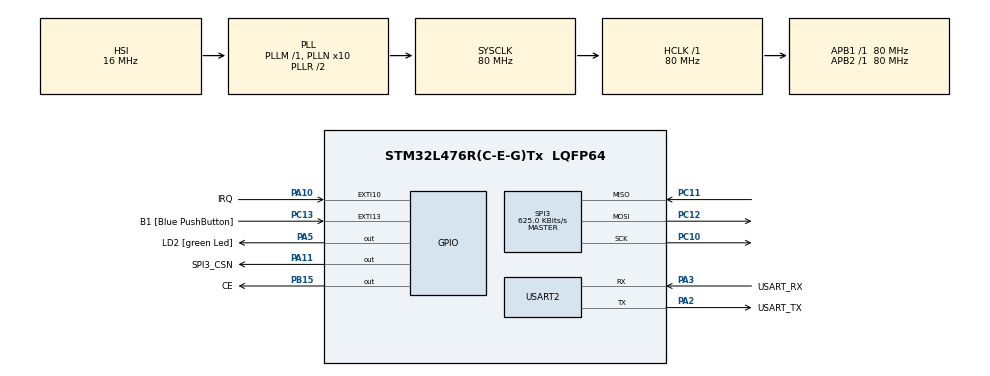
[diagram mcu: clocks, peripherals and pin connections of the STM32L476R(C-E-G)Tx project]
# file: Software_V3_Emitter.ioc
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Mcu.Family=STM32L4
Mcu.Name=STM32L476R(C-E-G)Tx
Mcu.Package=LQFP64
NVIC.EXTI15_10_IRQn=true\:0\:0\:false\:false\:true\:true\:true\:true
NVIC.PriorityGroup=NVIC_PRIORITYGROUP_4
PA10.GPIO_Label=IRQ
PA10.GPIO_ModeDefaultEXTI=GPIO_MODE_IT_FALLING
PA10.Signal=GPXTI10
PA11.GPIO_Label=SPI3_CSN
PA11.GPIO_Speed=GPIO_SPEED_FREQ_HIGH
PA11.PinState=GPIO_PIN_SET
PA11.Signal=GPIO_Output
PA13\ (JTMS-SWDIO).GPIO_Label=TMS
PA13\ (JTMS-SWDIO).Mode=Serial_Wire
PA13\ (JTMS-SWDIO).Signal=SYS_JTMS-SWDIO
PA14\ (JTCK-SWCLK).GPIO_Label=TCK
PA14\ (JTCK-SWCLK).Mode=Serial_Wire
PA14\ (JTCK-SWCLK).Signal=SYS_JTCK-SWCLK
PA2.GPIO_Label=USART_TX
PA2.GPIO_Mode=GPIO_MODE_AF_PP
PA2.GPIO_PuPd=GPIO_NOPULL
PA2.GPIO_Speed=GPIO_SPEED_FREQ_VERY_HIGH
PA2.Mode=Asynchronous
PA2.Signal=USART2_TX
PA3.GPIO_Label=USART_RX
PA3.GPIO_Mode=GPIO_MODE_AF_PP
PA3.GPIO_PuPd=GPIO_NOPULL
PA3.GPIO_Speed=GPIO_SPEED_FREQ_VERY_HIGH
PA3.Mode=Asynchronous
PA3.Signal=USART2_RX
PA5.GPIO_Label=LD2 [green Led]
PA5.GPIO_ModeDefaultOutputPP=GPIO_MODE_OUTPUT_PP
PA5.GPIO_PuPd=GPIO_NOPULL
PA5.GPIO_Speed=GPIO_SPEED_FREQ_LOW
PA5.Signal=GPIO_Output
PB15.GPIO_Label=CE
PB15.GPIO_Speed=GPIO_SPEED_FREQ_HIGH
PB15.Signal=GPIO_Output
PB3\ (JTDO-TRACESWO).GPIO_Label=SWO
PB3\ (JTDO-TRACESWO).Signal=SYS_JTDO-SWO
PC10.Mode=Full_Duplex_Master
PC10.Signal=SPI3_SCK
PC11.Mode=Full_Duplex_Master
PC11.Signal=SPI3_MISO
PC12.Mode=Full_Duplex_Master
PC12.Signal=SPI3_MOSI
PC13.GPIO_Label=B1 [Blue PushButton]
PC13.GPIO_ModeDefaultEXTI=GPIO_MODE_IT_FALLING
PC13.GPIO_PuPd=GPIO_NOPULL
PC13.Signal=GPXTI13
PC14-OSC32_IN\ (PC14).Mode=LSE-External-Oscillator
PC14-OSC32_IN\ (PC14).Signal=RCC_OSC32_IN
PC15-OSC32_OUT\ (PC15).Mode=LSE-External-Oscillator
PC15-OSC32_OUT\ (PC15).Signal=RCC_OSC32_OUT
PH0-OSC_IN\ (PH0).Signal=RCC_OSC_IN
PH1-OSC_OUT\ (PH1).Signal=RCC_OSC_OUT
ProjectManager.HeapSize=0x200
ProjectManager.StackSize=0x400
ProjectManager.TargetToolchain=STM32CubeIDE
RCC.ADCFreq_Value=64000000
RCC.AHBFreq_Value=80000000
RCC.APB1Freq_Value=80000000
RCC.APB1TimFreq_Value=80000000
RCC.APB2Freq_Value=80000000
RCC.APB2TimFreq_Value=80000000
RCC.CortexFreq_Value=80000000
RCC.HCLKFreq_Value=80000000
RCC.HSE_VALUE=8000000
RCC.HSI_VALUE=16000000
RCC.MSI_VALUE=4000000
RCC.PLLN=10
RCC.PLLSourceVirtual=RCC_PLLSOURCE_HSI
RCC.PREFETCH_ENABLE=1
RCC.SYSCLKFreq_VALUE=80000000
RCC.SYSCLKSource=RCC_SYSCLKSOURCE_PLLCLK
RCC.USBFreq_Value=64000000
RCC.VCOOutputFreq_Value=160000000
SPI3.BaudRatePrescaler=SPI_BAUDRATEPRESCALER_128
SPI3.CalculateBaudRate=625.0 KBits/s
SPI3.DataSize=SPI_DATASIZE_8BIT
SPI3.Direction=SPI_DIRECTION_2LINES
SPI3.Mode=SPI_MODE_MASTER
SPI3.VirtualType=VM_MASTER
USART2.VirtualMode-Asynchronous=VM_ASYNC
board=NUCLEO-L476RG

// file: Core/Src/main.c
/* USER CODE BEGIN Header */
/**
  ******************************************************************************
  * @file           : main.c
  * @brief          : Main program body
  ******************************************************************************
  * @attention
  *
  * Copyright (c) 2025 STMicroelectronics.
  * All rights reserved.
  *
  * This software is licensed under terms that can be found in the LICENSE file
  * in the root directory of this software component.
  * If no LICENSE file comes with this software, it is provided AS-IS.
  *
  ******************************************************************************
  */
/* USER CODE END Header */
#include "main.h"

/* USER CODE BEGIN Includes */

#include "nrf24l01p.h"

/* USER CODE END Includes */

/* USER CODE BEGIN PD */

#define TRANSMITTER

/* USER CODE END PD */

SPI_HandleTypeDef hspi3;

UART_HandleTypeDef huart2;

void SystemClock_Config(void);
static void MX_GPIO_Init(void);
static void MX_USART2_UART_Init(void);
static void MX_SPI3_Init(void);
/* USER CODE BEGIN PFP */

void HAL_GPIO_EXTI_Callback(uint16_t GPIO_Pin);

/* USER CODE END PFP */

int main(void)
{

  /* MCU Configuration--------------------------------------------------------*/

  /* Reset of all peripherals, Initializes the Flash interface and the Systick. */
  HAL_Init();

  /* Configure the system clock */
  SystemClock_Config();

  /* Initialize all configured peripherals */
  MX_GPIO_Init();
  MX_USART2_UART_Init();
  MX_SPI3_Init();
  /* USER CODE BEGIN 2 */

 #ifdef TRANSMITTER
	nrf24l01p_tx_init(2500, _250kbps);
 #endif

  /* USER CODE END 2 */

  /* Infinite loop */
  while (1)
  {

    /* USER CODE BEGIN 3 */

	  char message[NRF24L01P_PAYLOAD_LENGTH] = {0};
	  sprintf(message,"123456\n\r");
	  nrf24l01p_tx_transmit((uint8_t*)message);
	  HAL_Delay(100);

  }

  /* USER CODE END 3 */
}

void SystemClock_Config(void)
{
  RCC_OscInitTypeDef RCC_OscInitStruct = {0};
  RCC_ClkInitTypeDef RCC_ClkInitStruct = {0};

  /** Configure the main internal regulator output voltage
  */
  if (HAL_PWREx_ControlVoltageScaling(PWR_REGULATOR_VOLTAGE_SCALE1) != HAL_OK)
  {
    Error_Handler();
  }

  /** Initializes the RCC Oscillators according to the specified parameters
  * in the RCC_OscInitTypeDef structure.
  */
  RCC_OscInitStruct.OscillatorType = RCC_OSCILLATORTYPE_HSI;
  RCC_OscInitStruct.HSIState = RCC_HSI_ON;
  RCC_OscInitStruct.HSICalibrationValue = RCC_HSICALIBRATION_DEFAULT;
  RCC_OscInitStruct.PLL.PLLState = RCC_PLL_ON;
  RCC_OscInitStruct.PLL.PLLSource = RCC_PLLSOURCE_HSI;
  RCC_OscInitStruct.PLL.PLLM = 1;
  RCC_OscInitStruct.PLL.PLLN = 10;
  RCC_OscInitStruct.PLL.PLLP = RCC_PLLP_DIV7;
  RCC_OscInitStruct.PLL.PLLQ = RCC_PLLQ_DIV2;
  RCC_OscInitStruct.PLL.PLLR = RCC_PLLR_DIV2;
  if (HAL_RCC_OscConfig(&RCC_OscInitStruct) != HAL_OK)
  {
    Error_Handler();
  }

  /** Initializes the CPU, AHB and APB buses clocks
  */
  RCC_ClkInitStruct.ClockType = RCC_CLOCKTYPE_HCLK|RCC_CLOCKTYPE_SYSCLK
                              |RCC_CLOCKTYPE_PCLK1|RCC_CLOCKTYPE_PCLK2;
  RCC_ClkInitStruct.SYSCLKSource = RCC_SYSCLKSOURCE_PLLCLK;
  RCC_ClkInitStruct.AHBCLKDivider = RCC_SYSCLK_DIV1;
  RCC_ClkInitStruct.APB1CLKDivider = RCC_HCLK_DIV1;
  RCC_ClkInitStruct.APB2CLKDivider = RCC_HCLK_DIV1;

  if (HAL_RCC_ClockConfig(&RCC_ClkInitStruct, FLASH_LATENCY_4) != HAL_OK)
  {
    Error_Handler();
  }
}

static void MX_SPI3_Init(void)
{

  /* SPI3 parameter configuration*/
  hspi3.Instance = SPI3;
  hspi3.Init.Mode = SPI_MODE_MASTER;
  hspi3.Init.Direction = SPI_DIRECTION_2LINES;
  hspi3.Init.DataSize = SPI_DATASIZE_8BIT;
  hspi3.Init.CLKPolarity = SPI_POLARITY_LOW;
  hspi3.Init.CLKPhase = SPI_PHASE_1EDGE;
  hspi3.Init.NSS = SPI_NSS_SOFT;
  hspi3.Init.BaudRatePrescaler = SPI_BAUDRATEPRESCALER_128;
  hspi3.Init.FirstBit = SPI_FIRSTBIT_MSB;
  hspi3.Init.TIMode = SPI_TIMODE_DISABLE;
  hspi3.Init.CRCCalculation = SPI_CRCCALCULATION_DISABLE;
  hspi3.Init.CRCPolynomial = 7;
  hspi3.Init.CRCLength = SPI_CRC_LENGTH_DATASIZE;
  hspi3.Init.NSSPMode = SPI_NSS_PULSE_ENABLE;
  if (HAL_SPI_Init(&hspi3) != HAL_OK)
  {
    Error_Handler();
  }

}

static void MX_USART2_UART_Init(void)
{

  huart2.Instance = USART2;
  huart2.Init.BaudRate = 115200;
  huart2.Init.WordLength = UART_WORDLENGTH_8B;
  huart2.Init.StopBits = UART_STOPBITS_1;
  huart2.Init.Parity = UART_PARITY_NONE;
  huart2.Init.Mode = UART_MODE_TX_RX;
  huart2.Init.HwFlowCtl = UART_HWCONTROL_NONE;
  huart2.Init.OverSampling = UART_OVERSAMPLING_16;
  huart2.Init.OneBitSampling = UART_ONE_BIT_SAMPLE_DISABLE;
  huart2.AdvancedInit.AdvFeatureInit = UART_ADVFEATURE_NO_INIT;
  if (HAL_UART_Init(&huart2) != HAL_OK)
  {
    Error_Handler();
  }

}

static void MX_GPIO_Init(void)
{
  GPIO_InitTypeDef GPIO_InitStruct = {0};

  /* GPIO Ports Clock Enable */
  __HAL_RCC_GPIOC_CLK_ENABLE();
  __HAL_RCC_GPIOH_CLK_ENABLE();
  __HAL_RCC_GPIOA_CLK_ENABLE();
  __HAL_RCC_GPIOB_CLK_ENABLE();

  /*Configure GPIO pin Output Level */
  HAL_GPIO_WritePin(LD2_GPIO_Port, LD2_Pin, GPIO_PIN_RESET);

  /*Configure GPIO pin Output Level */
  HAL_GPIO_WritePin(CE_GPIO_Port, CE_Pin, GPIO_PIN_RESET);

  /*Configure GPIO pin Output Level */
  HAL_GPIO_WritePin(SPI3_CSN_GPIO_Port, SPI3_CSN_Pin, GPIO_PIN_SET);

  /*Configure GPIO pin : B1_Pin */
  GPIO_InitStruct.Pin = B1_Pin;
  GPIO_InitStruct.Mode = GPIO_MODE_IT_FALLING;
  GPIO_InitStruct.Pull = GPIO_NOPULL;
  HAL_GPIO_Init(B1_GPIO_Port, &GPIO_InitStruct);

  /*Configure GPIO pin : LD2_Pin */
  GPIO_InitStruct.Pin = LD2_Pin;
  GPIO_InitStruct.Mode = GPIO_MODE_OUTPUT_PP;
  GPIO_InitStruct.Pull = GPIO_NOPULL;
  GPIO_InitStruct.Speed = GPIO_SPEED_FREQ_LOW;
  HAL_GPIO_Init(LD2_GPIO_Port, &GPIO_InitStruct);

  /*Configure GPIO pin : CE_Pin */
  GPIO_InitStruct.Pin = CE_Pin;
  GPIO_InitStruct.Mode = GPIO_MODE_OUTPUT_PP;
  GPIO_InitStruct.Pull = GPIO_NOPULL;
  GPIO_InitStruct.Speed = GPIO_SPEED_FREQ_HIGH;
  HAL_GPIO_Init(CE_GPIO_Port, &GPIO_InitStruct);

  /*Configure GPIO pin : IRQ_Pin */
  GPIO_InitStruct.Pin = IRQ_Pin;
  GPIO_InitStruct.Mode = GPIO_MODE_IT_FALLING;
  GPIO_InitStruct.Pull = GPIO_NOPULL;
  HAL_GPIO_Init(IRQ_GPIO_Port, &GPIO_InitStruct);

  /*Configure GPIO pin : SPI3_CSN_Pin */
  GPIO_InitStruct.Pin = SPI3_CSN_Pin;
  GPIO_InitStruct.Mode = GPIO_MODE_OUTPUT_PP;
  GPIO_InitStruct.Pull = GPIO_NOPULL;
  GPIO_InitStruct.Speed = GPIO_SPEED_FREQ_HIGH;
  HAL_GPIO_Init(SPI3_CSN_GPIO_Port, &GPIO_InitStruct);

  /* EXTI interrupt init*/
  HAL_NVIC_SetPriority(EXTI15_10_IRQn, 0, 0);
  HAL_NVIC_EnableIRQ(EXTI15_10_IRQn);

}

/* USER CODE BEGIN 4 */

void HAL_GPIO_EXTI_Callback(uint16_t GPIO_Pin) {

	if(GPIO_Pin == NRF24L01P_IRQ_PIN_NUMBER) {
#ifdef TRANSMITTER
		nrf24l01p_tx_irq();
#endif
	}

}

/* USER CODE END 4 */

void Error_Handler(void)
{
  __disable_irq();
  while (1)
  {
  }
}
